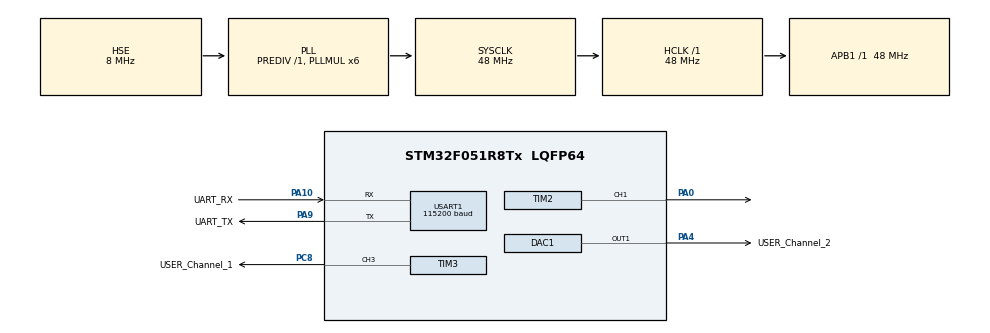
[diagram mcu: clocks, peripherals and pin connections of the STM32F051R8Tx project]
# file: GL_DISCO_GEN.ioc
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Dma.Request0=USART1_RX
Dma.Request1=USART1_TX
Dma.USART1_RX.0.Direction=DMA_PERIPH_TO_MEMORY
Dma.USART1_RX.0.Instance=DMA1_Channel5
Dma.USART1_RX.0.MemDataAlignment=DMA_MDATAALIGN_BYTE
Dma.USART1_RX.0.MemInc=DMA_MINC_ENABLE
Dma.USART1_RX.0.Mode=DMA_NORMAL
Dma.USART1_RX.0.PeriphDataAlignment=DMA_PDATAALIGN_BYTE
Dma.USART1_RX.0.PeriphInc=DMA_PINC_DISABLE
Dma.USART1_RX.0.Priority=DMA_PRIORITY_LOW
Dma.USART1_TX.1.Direction=DMA_MEMORY_TO_PERIPH
Dma.USART1_TX.1.Instance=DMA1_Channel4
Dma.USART1_TX.1.MemDataAlignment=DMA_MDATAALIGN_BYTE
Dma.USART1_TX.1.MemInc=DMA_MINC_ENABLE
Dma.USART1_TX.1.Mode=DMA_NORMAL
Dma.USART1_TX.1.PeriphDataAlignment=DMA_PDATAALIGN_BYTE
Dma.USART1_TX.1.PeriphInc=DMA_PINC_DISABLE
Dma.USART1_TX.1.Priority=DMA_PRIORITY_LOW
Mcu.Family=STM32F0
Mcu.Name=STM32F051R8Tx
Mcu.Package=LQFP64
NVIC.DMA1_Channel4_5_IRQn=true\:0\:0\:false\:false\:true\:false\:true\:true
NVIC.TIM6_DAC_IRQn=true\:0\:0\:false\:false\:true\:true\:true\:true
NVIC.USART1_IRQn=true\:0\:0\:false\:false\:true\:true\:true\:true
PA0.Signal=S_TIM2_CH1_ETR
PA10.GPIO_Label=UART_RX
PA10.Mode=Asynchronous
PA10.Signal=USART1_RX
PA13.Mode=Serial_Wire
PA13.Signal=SYS_SWDIO
PA14.Mode=Serial_Wire
PA14.Signal=SYS_SWCLK
PA4.GPIO_Label=USER_Channel_2
PA4.Signal=COMP_DAC11_group
PA9.GPIO_Label=UART_TX
PA9.Mode=Asynchronous
PA9.Signal=USART1_TX
PC14-OSC32_IN.Mode=LSE-External-Oscillator
PC14-OSC32_IN.Signal=RCC_OSC32_IN
PC15-OSC32_OUT.Mode=LSE-External-Oscillator
PC15-OSC32_OUT.Signal=RCC_OSC32_OUT
PC8.GPIO_Label=USER_Channel_1
PC8.Signal=S_TIM3_CH3
PF0-OSC_IN.Mode=HSE-External-Oscillator
PF0-OSC_IN.Signal=RCC_OSC_IN
PF1-OSC_OUT.Mode=HSE-External-Oscillator
PF1-OSC_OUT.Signal=RCC_OSC_OUT
ProjectManager.HeapSize=0x200
ProjectManager.StackSize=0x400
ProjectManager.TargetToolchain=STM32CubeIDE
RCC.AHBFreq_Value=48000000
RCC.APB1Freq_Value=48000000
RCC.APB1TimFreq_Value=48000000
RCC.HCLKFreq_Value=48000000
RCC.PLLMUL=RCC_PLL_MUL6
RCC.PLLSourceVirtual=RCC_PLLSOURCE_HSE
RCC.SYSCLKFreq_VALUE=48000000
RCC.SYSCLKSource=RCC_SYSCLKSOURCE_PLLCLK
SH.COMP_DAC11_group.0=DAC1_OUT1,DAC_OUT1
SH.S_TIM2_CH1_ETR.0=TIM2_CH1,PWM Generation1 CH1
SH.S_TIM3_CH3.0=TIM3_CH3,PWM Generation3 CH3
TIM2.Channel-PWM\ Generation1\ CH1=TIM_CHANNEL_1
TIM3.Channel-PWM\ Generation3\ CH3=TIM_CHANNEL_3
TIM3.OCPolarity_3=TIM_OCPOLARITY_HIGH
TIM3.Period=100-1
TIM3.Prescaler=48-1
TIM3.Pulse-PWM\ Generation3\ CH3=0
TIM6.Period=1000-1
TIM6.Prescaler=96-1
USART1.BaudRate=115200
USART1.VirtualMode-Asynchronous=VM_ASYNC
VP_TIM3_VS_ClockSourceINT.Mode=Internal
VP_TIM6_VS_ClockSourceINT.Mode=Enable_Timer
board=custom

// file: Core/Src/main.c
/* USER CODE BEGIN Header */
/**
  ******************************************************************************
  * @file           : main.c
  * @brief          : Main program body
  ******************************************************************************
  * @attention
  *
  * Copyright (c) 2025 STMicroelectronics.
  * All rights reserved.
  *
  * This software is licensed under terms that can be found in the LICENSE file
  * in the root directory of this software component.
  * If no LICENSE file comes with this software, it is provided AS-IS.
  *
  ******************************************************************************
  */
/* USER CODE END Header */
#include "main.h"

/* USER CODE BEGIN Includes */
#include <stdio.h>
#include <math.h>
#include <string.h>
/* USER CODE END Includes */

/* USER CODE BEGIN PD */
#define PI (3.14159265)
#define DAC_MAX (4095)
#define SIZE_OF_ARRAY (11)

#define PWM  (1)
#define SIN  (2)
#define TRI  (3)
/* USER CODE END PD */

DAC_HandleTypeDef hdac1;

TIM_HandleTypeDef htim2;
TIM_HandleTypeDef htim3;
TIM_HandleTypeDef htim6;

UART_HandleTypeDef huart1;
DMA_HandleTypeDef hdma_usart1_rx;
DMA_HandleTypeDef hdma_usart1_tx;

/* USER CODE BEGIN PV */
uint8_t Ok_Receive [] = "Ok";
uint8_t Error_Receive [] = "Error";
/* USER CODE END PV */

void SystemClock_Config(void);
static void MX_GPIO_Init(void);
static void MX_DMA_Init(void);
static void MX_USART1_UART_Init(void);
static void MX_TIM3_Init(void);
static void MX_DAC1_Init(void);
static void MX_TIM6_Init(void);
static void MX_TIM2_Init(void);
/* USER CODE BEGIN PFP */
void UART_Transmit(uint32_t byte_count, uint32_t *data_buffer_ptr);
void UART_Receive(uint32_t byte_count, uint32_t *data_buffer_ptr);
void UART_Data (uint32_t *Data_Numbers);

void PWM_Signal (uint32_t start_level, uint32_t duty, uint32_t period);
void SIN_Signal (uint32_t period);
void TRI_Signal (uint32_t period);

void USR_Signal_1();
void USR_Signal_2();
void USR_Signal_3();

void Process_Command();
/* USER CODE END PFP */

/* USER CODE BEGIN 0 */
void UART_Transmit (uint32_t byte_count, uint32_t *data_buffer_ptr)
{
	HAL_UART_Transmit(&huart1, data_buffer_ptr, byte_count, HAL_MAX_DELAY);
}

void UART_Receive(uint32_t byte_count, uint32_t *data_buffer_ptr)
{
	HAL_UART_Receive(&huart1, data_buffer_ptr, byte_count, HAL_MAX_DELAY);
}

void USR_Signal_1()
{}
void USR_Signal_2()
{}
void USR_Signal_3()
{}

void PWM_Signal (uint32_t start_level, uint32_t duty, uint32_t period)
{
	htim3.Instance->ARR = period; htim3.Instance->EGR |= TIM_EGR_UG;
	if (start_level == 1)
	{
		htim3.Instance->CCR3 = duty;
	}
	else if (start_level == 2)
	{
		htim3.Instance->CCR3 = (period - duty);
	}
}

void SIN_Signal (uint32_t period)
{
	while(1)
	{
		for (int i = 0; i < period/2; i++)
		{
			uint16_t value = (DAC_MAX / 2) + (DAC_MAX / 2) * sin(i * 2 * PI / (period/2));

			HAL_DAC_SetValue(&hdac1, DAC_CHANNEL_1, DAC_ALIGN_12B_R, value);
			DAC->SWTRIGR |= DAC_SWTRIGR_SWTRIG1;
			HAL_TIM_Base_Stop_IT(&htim6);
			HAL_Delay(1);
		}
	 }
}

void TRI_Signal (uint32_t period)
{
	while(1)
	{
		for (int i = 0; i < period/2; i++)
		{
	        uint16_t value;
	        if (i < period / 4)
	        {
	            value = (DAC_MAX * i) / (period / 4);
	        }
	        else
	        {
	            value = DAC_MAX - ((DAC_MAX * (i - period / 4)) / (period / 4));
	        }

	        HAL_DAC_SetValue(&hdac1, DAC_CHANNEL_1, DAC_ALIGN_12B_R, value);
	        DAC->SWTRIGR |= DAC_SWTRIGR_SWTRIG1;

	        HAL_Delay(1);
	    }
	}
}

void UART_Data(uint32_t *Data_Numbers)
{
    HAL_StatusTypeDef status;

    for (uint32_t i = 0; i < SIZE_OF_ARRAY; i++)
    {
        status = HAL_UART_Receive(&huart1, &Data_Numbers[i], 1, HAL_MAX_DELAY);
        if (status != HAL_OK)
        {
            UART_Transmit(strlen((char*)Error_Receive), Error_Receive);
            return;
        }
    }
}

void Check_Xorsum(uint32_t *Data_Numbers)
{
    uint32_t xorsum = 0;

    // Обчислюємо контрольну суму (XOR всіх елементів крім останнього)
    for (int i = 0; i < SIZE_OF_ARRAY - 1; i++)
    {
        xorsum ^= Data_Numbers[i];
    }

    // Перевіряємо, чи збігається контрольна сума з останнім елементом
    if (xorsum == Data_Numbers[SIZE_OF_ARRAY - 1])
    {
        // Якщо контрольна сума збігається, виводимо "OK"
        UART_Transmit(strlen("031 "), (uint8_t*)"031 ");
    }
    else
    {
        // Якщо контрольна сума не збігається, виводимо повідомлення про помилку
        UART_Transmit(strlen("032 "), (uint8_t*)"032 ");
    }
}
void Clear_Buffer(uint32_t *buffer, uint32_t size)
{

    memset(buffer, 0, size * sizeof(uint32_t));  // Очищення масиву
    __HAL_UART_FLUSH_DRREGISTER(&huart1);  // Очистка регістра даних UART
    HAL_UART_AbortReceive(&huart1);  // Скасування поточного прийому даних
}

void Process_Command()
{
	uint32_t Data_Numbers[SIZE_OF_ARRAY] = {0};
	// Очищення буфера перед новим прийомом
	Clear_Buffer(Data_Numbers, SIZE_OF_ARRAY);
	UART_Data(Data_Numbers);
	Check_Xorsum(Data_Numbers);

		uint32_t Signal_PWM = Data_Numbers[0] ;

		uint32_t S_Level_PWM = Data_Numbers[1];

		uint32_t tmp_1_duty_PWM = ((uint32_t)Data_Numbers[3] << 8);
		uint32_t tmp_2_duty_PWM = tmp_1_duty_PWM | Data_Numbers[2];

		uint32_t tmp_3_duty_PWM = ((uint32_t)Data_Numbers[4] << 16);
		uint32_t tmp_4_duty_PWM = tmp_3_duty_PWM |tmp_2_duty_PWM;

		uint32_t tmp_5_duty_PWM = ((uint32_t)Data_Numbers[5] << 24);
		uint32_t duty_PWM = tmp_5_duty_PWM |tmp_4_duty_PWM;

		uint32_t tmp_1_period_PWM = ((uint32_t)Data_Numbers[7] << 8);
		uint32_t tmp_2_period_PWM = tmp_1_period_PWM | Data_Numbers[6];

		uint32_t tmp_3_period_PWM = ((uint32_t)Data_Numbers[8] << 16);
		uint32_t tmp_4_period_PWM = tmp_3_period_PWM |tmp_2_period_PWM;

		uint32_t tmp_5_period_PWM = ((uint32_t)Data_Numbers[9] << 24);
		uint32_t period_PWM = tmp_5_period_PWM |tmp_4_period_PWM;

			switch (Data_Numbers [0])
			{
			case 1:
					/*Спочатку зсуваємо на ()біт, потім додаємо наступні біти */

					PWM_Signal(S_Level_PWM, duty_PWM, period_PWM ); Clear_Buffer(Data_Numbers, SIZE_OF_ARRAY); break;

			case 2:
					/*Спочатку зсуваємо на ()біт, потім додаємо наступні біти */

					SIN_Signal(period_PWM); Clear_Buffer(Data_Numbers, SIZE_OF_ARRAY); break;

			case 3:
					/*Спочатку зсуваємо на ()біт, потім додаємо наступні біти */

					TRI_Signal(period_PWM); Clear_Buffer(Data_Numbers, SIZE_OF_ARRAY); break;
			}

}

/* USER CODE END 0 */

int main(void)
{

  /* MCU Configuration--------------------------------------------------------*/

  /* Reset of all peripherals, Initializes the Flash interface and the Systick. */
  HAL_Init();

  /* Configure the system clock */
  SystemClock_Config();

  /* Initialize all configured peripherals */
  MX_GPIO_Init();
  MX_DMA_Init();
  MX_USART1_UART_Init();
  MX_TIM3_Init();
  MX_DAC1_Init();
  MX_TIM6_Init();
  MX_TIM2_Init();
  /* USER CODE BEGIN 2 */
  HAL_DAC_Start(&hdac1, DAC_CHANNEL_1);
  HAL_TIM_PWM_Start (&htim3, TIM_CHANNEL_3);
  HAL_TIM_PWM_Start (&htim3, TIM_CHANNEL_4);
  HAL_TIM_IC_Start (&htim6, TIM_CHANNEL_1);
  /* USER CODE END 2 */

  /* Infinite loop */
  /* USER CODE BEGIN WHILE */
  while (1)
  {
	  Process_Command();
    /* USER CODE END WHILE */

  }
}

void SystemClock_Config(void)
{
  RCC_OscInitTypeDef RCC_OscInitStruct = {0};
  RCC_ClkInitTypeDef RCC_ClkInitStruct = {0};
  RCC_PeriphCLKInitTypeDef PeriphClkInit = {0};

  /** Initializes the RCC Oscillators according to the specified parameters
  * in the RCC_OscInitTypeDef structure.
  */
  RCC_OscInitStruct.OscillatorType = RCC_OSCILLATORTYPE_HSE;
  RCC_OscInitStruct.HSEState = RCC_HSE_ON;
  RCC_OscInitStruct.PLL.PLLState = RCC_PLL_ON;
  RCC_OscInitStruct.PLL.PLLSource = RCC_PLLSOURCE_HSE;
  RCC_OscInitStruct.PLL.PLLMUL = RCC_PLL_MUL6;
  RCC_OscInitStruct.PLL.PREDIV = RCC_PREDIV_DIV1;
  if (HAL_RCC_OscConfig(&RCC_OscInitStruct) != HAL_OK)
  {
    Error_Handler();
  }

  /** Initializes the CPU, AHB and APB buses clocks
  */
  RCC_ClkInitStruct.ClockType = RCC_CLOCKTYPE_HCLK|RCC_CLOCKTYPE_SYSCLK
                              |RCC_CLOCKTYPE_PCLK1;
  RCC_ClkInitStruct.SYSCLKSource = RCC_SYSCLKSOURCE_PLLCLK;
  RCC_ClkInitStruct.AHBCLKDivider = RCC_SYSCLK_DIV1;
  RCC_ClkInitStruct.APB1CLKDivider = RCC_HCLK_DIV1;

  if (HAL_RCC_ClockConfig(&RCC_ClkInitStruct, FLASH_LATENCY_1) != HAL_OK)
  {
    Error_Handler();
  }
  PeriphClkInit.PeriphClockSelection = RCC_PERIPHCLK_USART1;
  PeriphClkInit.Usart1ClockSelection = RCC_USART1CLKSOURCE_PCLK1;
  if (HAL_RCCEx_PeriphCLKConfig(&PeriphClkInit) != HAL_OK)
  {
    Error_Handler();
  }
}

static void MX_DAC1_Init(void)
{

  DAC_ChannelConfTypeDef sConfig = {0};

  /** DAC Initialization
  */
  hdac1.Instance = DAC;
  if (HAL_DAC_Init(&hdac1) != HAL_OK)
  {
    Error_Handler();
  }

  /** DAC channel OUT1 config
  */
  sConfig.DAC_Trigger = DAC_TRIGGER_NONE;
  sConfig.DAC_OutputBuffer = DAC_OUTPUTBUFFER_ENABLE;
  if (HAL_DAC_ConfigChannel(&hdac1, &sConfig, DAC_CHANNEL_1) != HAL_OK)
  {
    Error_Handler();
  }

}

static void MX_TIM2_Init(void)
{

  TIM_MasterConfigTypeDef sMasterConfig = {0};
  TIM_OC_InitTypeDef sConfigOC = {0};

  htim2.Instance = TIM2;
  htim2.Init.Prescaler = 0;
  htim2.Init.CounterMode = TIM_COUNTERMODE_UP;
  htim2.Init.Period = 4294967295;
  htim2.Init.ClockDivision = TIM_CLOCKDIVISION_DIV1;
  htim2.Init.AutoReloadPreload = TIM_AUTORELOAD_PRELOAD_DISABLE;
  if (HAL_TIM_PWM_Init(&htim2) != HAL_OK)
  {
    Error_Handler();
  }
  sMasterConfig.MasterOutputTrigger = TIM_TRGO_RESET;
  sMasterConfig.MasterSlaveMode = TIM_MASTERSLAVEMODE_DISABLE;
  if (HAL_TIMEx_MasterConfigSynchronization(&htim2, &sMasterConfig) != HAL_OK)
  {
    Error_Handler();
  }
  sConfigOC.OCMode = TIM_OCMODE_PWM1;
  sConfigOC.Pulse = 0;
  sConfigOC.OCPolarity = TIM_OCPOLARITY_HIGH;
  sConfigOC.OCFastMode = TIM_OCFAST_DISABLE;
  if (HAL_TIM_PWM_ConfigChannel(&htim2, &sConfigOC, TIM_CHANNEL_1) != HAL_OK)
  {
    Error_Handler();
  }
  HAL_TIM_MspPostInit(&htim2);

}

static void MX_TIM3_Init(void)
{

  TIM_ClockConfigTypeDef sClockSourceConfig = {0};
  TIM_MasterConfigTypeDef sMasterConfig = {0};
  TIM_OC_InitTypeDef sConfigOC = {0};

  htim3.Instance = TIM3;
  htim3.Init.Prescaler = 48-1;
  htim3.Init.CounterMode = TIM_COUNTERMODE_UP;
  htim3.Init.Period = 100-1;
  htim3.Init.ClockDivision = TIM_CLOCKDIVISION_DIV1;
  htim3.Init.AutoReloadPreload = TIM_AUTORELOAD_PRELOAD_DISABLE;
  if (HAL_TIM_Base_Init(&htim3) != HAL_OK)
  {
    Error_Handler();
  }
  sClockSourceConfig.ClockSource = TIM_CLOCKSOURCE_INTERNAL;
  if (HAL_TIM_ConfigClockSource(&htim3, &sClockSourceConfig) != HAL_OK)
  {
    Error_Handler();
  }
  if (HAL_TIM_PWM_Init(&htim3) != HAL_OK)
  {
    Error_Handler();
  }
  sMasterConfig.MasterOutputTrigger = TIM_TRGO_RESET;
  sMasterConfig.MasterSlaveMode = TIM_MASTERSLAVEMODE_DISABLE;
  if (HAL_TIMEx_MasterConfigSynchronization(&htim3, &sMasterConfig) != HAL_OK)
  {
    Error_Handler();
  }
  sConfigOC.OCMode = TIM_OCMODE_PWM1;
  sConfigOC.Pulse = 0;
  sConfigOC.OCPolarity = TIM_OCPOLARITY_HIGH;
  sConfigOC.OCFastMode = TIM_OCFAST_DISABLE;
  if (HAL_TIM_PWM_ConfigChannel(&htim3, &sConfigOC, TIM_CHANNEL_3) != HAL_OK)
  {
    Error_Handler();
  }
  HAL_TIM_MspPostInit(&htim3);

}

static void MX_TIM6_Init(void)
{

  TIM_MasterConfigTypeDef sMasterConfig = {0};

  htim6.Instance = TIM6;
  htim6.Init.Prescaler = 96-1;
  htim6.Init.CounterMode = TIM_COUNTERMODE_UP;
  htim6.Init.Period = 1000-1;
  htim6.Init.AutoReloadPreload = TIM_AUTORELOAD_PRELOAD_DISABLE;
  if (HAL_TIM_Base_Init(&htim6) != HAL_OK)
  {
    Error_Handler();
  }
  sMasterConfig.MasterOutputTrigger = TIM_TRGO_RESET;
  sMasterConfig.MasterSlaveMode = TIM_MASTERSLAVEMODE_DISABLE;
  if (HAL_TIMEx_MasterConfigSynchronization(&htim6, &sMasterConfig) != HAL_OK)
  {
    Error_Handler();
  }

}

static void MX_USART1_UART_Init(void)
{

  huart1.Instance = USART1;
  huart1.Init.BaudRate = 115200;
  huart1.Init.WordLength = UART_WORDLENGTH_8B;
  huart1.Init.StopBits = UART_STOPBITS_1;
  huart1.Init.Parity = UART_PARITY_NONE;
  huart1.Init.Mode = UART_MODE_TX_RX;
  huart1.Init.HwFlowCtl = UART_HWCONTROL_NONE;
  huart1.Init.OverSampling = UART_OVERSAMPLING_16;
  huart1.Init.OneBitSampling = UART_ONE_BIT_SAMPLE_DISABLE;
  huart1.AdvancedInit.AdvFeatureInit = UART_ADVFEATURE_NO_INIT;
  if (HAL_UART_Init(&huart1) != HAL_OK)
  {
    Error_Handler();
  }

}

static void MX_DMA_Init(void)
{

  /* DMA controller clock enable */
  __HAL_RCC_DMA1_CLK_ENABLE();

  /* DMA interrupt init */
  /* DMA1_Channel4_5_IRQn interrupt configuration */
  HAL_NVIC_SetPriority(DMA1_Channel4_5_IRQn, 0, 0);
  HAL_NVIC_EnableIRQ(DMA1_Channel4_5_IRQn);

}

static void MX_GPIO_Init(void)
{

  /* GPIO Ports Clock Enable */
  __HAL_RCC_GPIOC_CLK_ENABLE();
  __HAL_RCC_GPIOF_CLK_ENABLE();
  __HAL_RCC_GPIOA_CLK_ENABLE();

}

void Error_Handler(void)
{
  __disable_irq();
  while (1)
  {
  }
}
